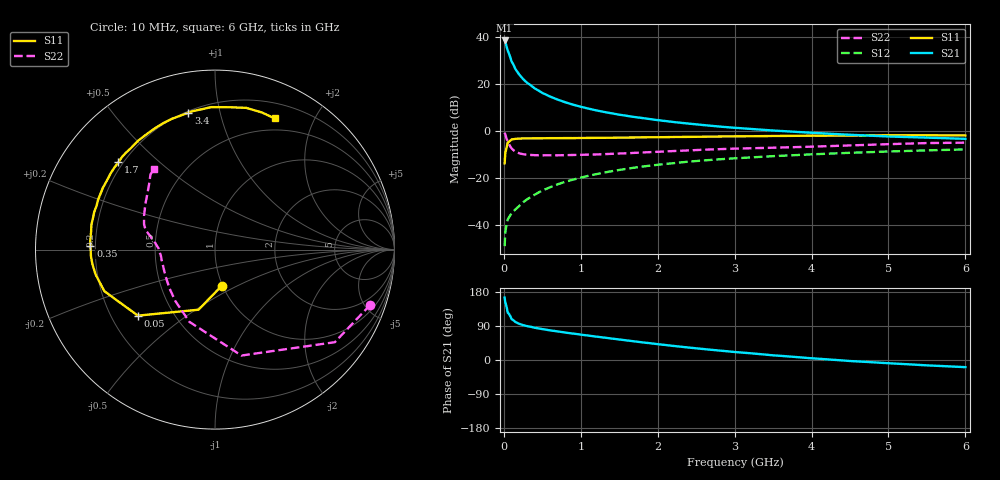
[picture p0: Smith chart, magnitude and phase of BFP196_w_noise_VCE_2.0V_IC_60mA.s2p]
! Infineon Technologies  Discrete & RF Semiconductors
! BFP196
! VCE =  2.0 V,  IC =  60 mA
! Common Emitter S-Parameters:  Jan 2017
# GHz  S  MA  R  50
!  f  S11  S21  S12  S22
! GHz  MAG  ANG  MAG  ANG  MAG  ANG  MAG  ANG
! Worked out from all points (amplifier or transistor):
!   77 points, 10 MHz to 6 GHz, reference 50 ohm
!   highest |S21| = 38.6 dB at 10 MHz (marker M1)
!   |S21| within 3 dB of that: start of sweep to 39.02 MHz
!   unconditionally stable (mu >= 1): 456.5 MHz to 2.552 GHz
!   at 130 MHz: K = 0.70, MSG = 31.0 dB, |S12| = -34.1 dB
!   at 2.2 GHz: K = 1.01, MAG = 8.1 dB, |S12| = -13.8 dB
!   at 6 GHz: K = 0.97, MSG = 2.2 dB, |S12| = -7.9 dB
!   lowest NFmin = 1.56 dB at 450 MHz
!   S11 on the Smith chart (normalised r, x): 10 MHz: 0.99, -0.42; 50 MHz: 0.31, -0.34; 350 MHz: 0.18, +0.02; 1.7 GHz: 0.18, +0.37; 3.4 GHz: 0.21, +0.80; 6 GHz: 0.36, +1.49
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0.01  0.2044 -79.2  84.86 164.6  0.0035 82.8  0.919 -19.5
0.02  0.3472 -105.3  77.99 151.2  0.0071 70.6  0.8436 -37.7
0.05  0.5655 -139.4  52.19 125.2  0.0129 54.9  0.6084 -76.0
0.1  0.6586 -159.4  30.47 107.9  0.0174 55.4  0.427 -109.5
0.15  0.6794 -168.2  20.97 100.3  0.0212 57.2  0.3619 -127.6
0.2  0.6877 -173.1  15.91 95.5  0.0252 60.9  0.3339 -139.1
0.25  0.692 -176.8  12.79 92.0  0.0302 62.7  0.3191 -146.8
0.3  0.6926 -179.5  10.7 89.5  0.0346 64.7  0.3117 -152.7
0.35  0.6941 178.2  9.387 87.6  0.0391 66.2  0.3075 -156.4
0.4  0.6968 175.9  8.087 85.1  0.0437 67.4  0.3046 -160.2
0.5  0.6974 171.9  6.475 81.5  0.0537 67.7  0.3025 -165.3
0.6  0.7022 168.7  5.419 78.3  0.063 67.7  0.3031 -169.1
0.8  0.7047 162.7  4.078 72.4  0.0828 67.5  0.3044 -174.4
1.1  0.7097 154.1  2.993 64.4  0.1109 64.3  0.313 -179.9
1.3  0.714 148.5  2.546 59.2  0.1289 61.6  0.3199 177.4
1.7  0.7253 137.9  1.983 49.1  0.1653 56.3  0.3412 172.8
2.1  0.7375 127.6  1.627 39.6  0.1975 50.2  0.3658 168.7
3.1  0.7685 106.4  1.137 19.5  0.2664 35.9  0.4237 158.9
3.4  0.7768 101.0  1.049 14.3  0.2839 32.2  0.4352 155.2
4.1  0.7936 90.0  0.896 3.2  0.3218 23.5  0.4679 145.5
5.1  0.8075 76.3  0.753 -9.6  0.3686 11.7  0.5283 133.6
6  0.8029 65.5  0.679 -18.9  0.4045 1.7  0.5625 127.2
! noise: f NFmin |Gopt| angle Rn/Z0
0.45  1.56  0.41  -174  0.06
0.9  1.72  0.48  -162  0.08
1.9  2.54  0.68  -132  0.35
2.4  2.93  0.7  -119  0.72
